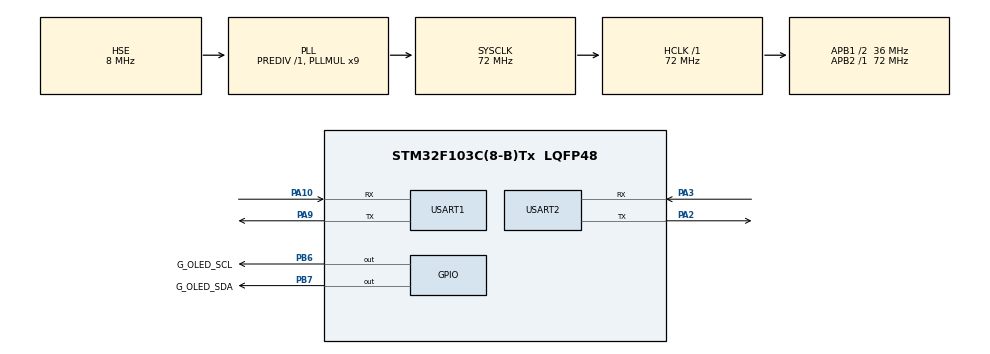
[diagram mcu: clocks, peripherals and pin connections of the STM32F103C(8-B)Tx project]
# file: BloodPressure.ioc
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Mcu.Family=STM32F1
Mcu.Name=STM32F103C(8-B)Tx
Mcu.Package=LQFP48
NVIC.PriorityGroup=NVIC_PRIORITYGROUP_4
NVIC.USART1_IRQn=true\:0\:0\:false\:false\:true\:true\:true
NVIC.USART2_IRQn=true\:0\:0\:false\:false\:true\:true\:true
PA10.Mode=Asynchronous
PA10.Signal=USART1_RX
PA13.Mode=Serial_Wire
PA13.Signal=SYS_JTMS-SWDIO
PA14.Mode=Serial_Wire
PA14.Signal=SYS_JTCK-SWCLK
PA2.Mode=Asynchronous
PA2.Signal=USART2_TX
PA3.Mode=Asynchronous
PA3.Signal=USART2_RX
PA9.Mode=Asynchronous
PA9.Signal=USART1_TX
PB6.GPIO_Label=G_OLED_SCL
PB6.Signal=GPIO_Output
PB7.GPIO_Label=G_OLED_SDA
PB7.Signal=GPIO_Output
PC14-OSC32_IN.Mode=LSE-External-Oscillator
PC14-OSC32_IN.Signal=RCC_OSC32_IN
PC15-OSC32_OUT.Mode=LSE-External-Oscillator
PC15-OSC32_OUT.Signal=RCC_OSC32_OUT
PD0-OSC_IN.Mode=HSE-External-Oscillator
PD0-OSC_IN.Signal=RCC_OSC_IN
PD1-OSC_OUT.Mode=HSE-External-Oscillator
PD1-OSC_OUT.Signal=RCC_OSC_OUT
ProjectManager.HeapSize=0x200
ProjectManager.StackSize=0x400
ProjectManager.TargetToolchain=MDK-ARM V5.32
RCC.AHBFreq_Value=72000000
RCC.APB1CLKDivider=RCC_HCLK_DIV2
RCC.APB1Freq_Value=36000000
RCC.APB1TimFreq_Value=72000000
RCC.APB2Freq_Value=72000000
RCC.APB2TimFreq_Value=72000000
RCC.HCLKFreq_Value=72000000
RCC.PLLMUL=RCC_PLL_MUL9
RCC.PLLSourceVirtual=RCC_PLLSOURCE_HSE
RCC.SYSCLKFreq_VALUE=72000000
RCC.SYSCLKSource=RCC_SYSCLKSOURCE_PLLCLK
RCC.USBFreq_Value=72000000
USART1.VirtualMode=VM_ASYNC
USART2.VirtualMode=VM_ASYNC
board=custom

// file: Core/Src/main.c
#include "main.h"
#include "usart.h"
#include "gpio.h"
#include "delay.h"
#include "max30102.h"
#include "led.h"
/* USER CODE BEGIN Includes */

#include "oled.h"
#include "debug_printf.h"

uint8_t uart1_tx_buf[6];

typedef struct
{
  uint8_t Systolic;  //收缩压
  uint8_t Diastolic; //舒张压
  uint8_t HeartRate; //心率
} BloodPressure_t;

BloodPressure_t BloodPressure;

const int bufflen = 6; //数据长度
uint8_t TXBuff[bufflen] = {0xFd, 0x00, 0x00, 0x00, 0x00, 0x00};//发送的数据
uint8_t RXBuff[bufflen];//接收的数据
/* USER CODE END PV */

void SystemClock_Config(void);
/* USER CODE BEGIN PFP */

//函数声明
void getData(void);
void display_data(uint8_t n_sp02);

/* USER CODE END PFP */

/* USER CODE BEGIN 0 */
void HAL_UART_RxCpltCallback(UART_HandleTypeDef *huart)
{
	//获取数据
  if (RXBuff[0] == 0xFD)
  {
    BloodPressure.Systolic = RXBuff[1];
    BloodPressure.Diastolic = RXBuff[2];
    BloodPressure.HeartRate = RXBuff[3];
  }
	//重新打开串口中断
  HAL_UART_Receive_IT(&huart2, (uint8_t *)RXBuff, bufflen);
}

/* USER CODE END 0 */

int main(void)
{
  int32_t n_heart_rate = 0;  //获取心率值
  int32_t n_sp02 = 0;        //获取血氧值
  HAL_Init();

  /* Configure the system clock */
  SystemClock_Config();
	delay_init(72);

  /* Initialize all configured peripherals */
  MX_GPIO_Init();
  MX_USART1_UART_Init();
  MX_USART2_UART_Init();
  /* USER CODE BEGIN 2 */
	led_init();
	OLED_Init();
	OLED_ShowString(0,0,"HR:",OLED_8X16);
	OLED_ShowString(8*6,0,"/sp02:",OLED_8X16);
	OLED_ShowChinese(0,16,"收缩压");
	OLED_ShowChinese(0,16*2,"舒张压");
	OLED_Update();
	//打开串口中断
  HAL_UART_Receive_IT(&huart2, RXBuff, bufflen);
	max30102_init();
  /* USER CODE END 2 */

  /* Infinite loop */
  /* USER CODE BEGIN WHILE */

  while (1)
  {
		max30102_Read_Data(&n_heart_rate, &n_sp02);

    getData();

		display_data((uint8_t)n_sp02);
		HAL_GPIO_TogglePin(GPIOC,GPIO_PIN_13);

		uart1_tx_buf[0] = 0xfd;
		uart1_tx_buf[1] = BloodPressure.HeartRate;
		uart1_tx_buf[2] = BloodPressure.Systolic;
    uart1_tx_buf[3] = BloodPressure.Diastolic;
		uart1_tx_buf[4] = (uint8_t)n_sp02;
		uart1_tx_buf[5] = 0xfe;
		HAL_UART_Transmit(&huart1, (uint8_t *)uart1_tx_buf, sizeof(uart1_tx_buf), 0xffff);
  }
  /* USER CODE END 3 */
}

void SystemClock_Config(void)
{
  RCC_OscInitTypeDef RCC_OscInitStruct = {0};
  RCC_ClkInitTypeDef RCC_ClkInitStruct = {0};

  /** Initializes the RCC Oscillators according to the specified parameters
  * in the RCC_OscInitTypeDef structure.
  */
  RCC_OscInitStruct.OscillatorType = RCC_OSCILLATORTYPE_HSE;
  RCC_OscInitStruct.HSEState = RCC_HSE_ON;
  RCC_OscInitStruct.HSEPredivValue = RCC_HSE_PREDIV_DIV1;
  RCC_OscInitStruct.HSIState = RCC_HSI_ON;
  RCC_OscInitStruct.PLL.PLLState = RCC_PLL_ON;
  RCC_OscInitStruct.PLL.PLLSource = RCC_PLLSOURCE_HSE;
  RCC_OscInitStruct.PLL.PLLMUL = RCC_PLL_MUL9;
  if (HAL_RCC_OscConfig(&RCC_OscInitStruct) != HAL_OK)
  {
    Error_Handler();
  }
  /** Initializes the CPU, AHB and APB buses clocks
  */
  RCC_ClkInitStruct.ClockType = RCC_CLOCKTYPE_HCLK|RCC_CLOCKTYPE_SYSCLK
                              |RCC_CLOCKTYPE_PCLK1|RCC_CLOCKTYPE_PCLK2;
  RCC_ClkInitStruct.SYSCLKSource = RCC_SYSCLKSOURCE_PLLCLK;
  RCC_ClkInitStruct.AHBCLKDivider = RCC_SYSCLK_DIV1;
  RCC_ClkInitStruct.APB1CLKDivider = RCC_HCLK_DIV2;
  RCC_ClkInitStruct.APB2CLKDivider = RCC_HCLK_DIV1;

  if (HAL_RCC_ClockConfig(&RCC_ClkInitStruct, FLASH_LATENCY_2) != HAL_OK)
  {
    Error_Handler();
  }
}

/* USER CODE BEGIN 4 */

// 获取数据
void getData(void)
{
  HAL_UART_Transmit(&huart2, (uint8_t *)TXBuff, sizeof(TXBuff), 0xffff);
}

void display_data(uint8_t n_sp02)
{
	OLED_ShowNum(8*3,0,BloodPressure.HeartRate,3,OLED_8X16);
	OLED_ShowNum(8*12,0,n_sp02,2,OLED_8X16);
	OLED_ShowNum(16*4,16,BloodPressure.Systolic,3,OLED_8X16);
	OLED_ShowNum(16*4,16*2,BloodPressure.Diastolic,3,OLED_8X16);
	OLED_Update();
}
/* USER CODE END 4 */

void Error_Handler(void)
{
  __disable_irq();
  while (1)
  {
  }
}
